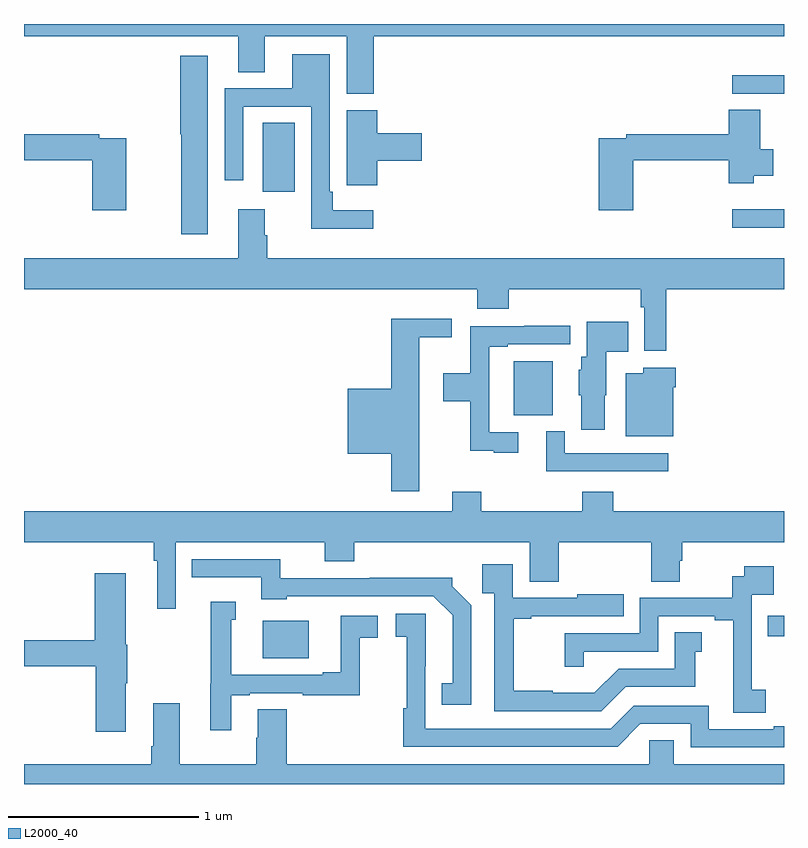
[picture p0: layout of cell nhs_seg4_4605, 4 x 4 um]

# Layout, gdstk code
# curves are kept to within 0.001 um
import gdstk
lib = gdstk.Library(unit=1e-6, precision=1e-09)
def R(c, l, rs):  # rectangles x0, y0, x1, y1
    for r in rs: c.add(gdstk.rectangle(r[:2], r[2:], *l))
def P(c, l, *ps):  # polygons
    for p in ps: c.add(gdstk.Polygon(p, *l))
L2000_40 = (2000, 40)

nhs_seg4_4605 = lib.new_cell('nhs_seg4_4605')
R(nhs_seg4_4605, L2000_40, [(360.257,777.563,360.499,777.76), (362.914,777.678,363,777.786), (361.577,778.841,361.783,779.125), (362.727,779.828,363,779.926), (360.257,780.018,360.424,780.38), (362.727,780.534,363,780.63)])
P(nhs_seg4_4605, L2000_40, [(360.842,780.836),(363,780.836),(363,780.9),(359,780.9),(359,780.836),(360.128,780.836),(360.128,780.646),(360.268,780.646),(360.268,780.836),(360.698,780.836),(360.698,780.532),(360.842,780.532)],
  [(360.838,779.92),(360.625,779.92),(360.625,780.016),(360.609,780.016),(360.609,780.742),(360.413,780.742),(360.413,780.561),(360.057,780.561),(360.057,780.078),(360.153,780.078),(360.153,780.465),(360.513,780.465),(360.513,779.822),(360.838,779.822)],
  [(359.968,780.733),(359.822,780.733),(359.822,780.32),(359.827,780.32),(359.827,779.793),(359.968,779.793)],
  [(362.207,780.184),(362.708,780.184),(362.708,780.062),(362.842,780.062),(362.842,780.101),(362.944,780.101),(362.944,780.241),(362.875,780.241),(362.875,780.449),(362.708,780.449),(362.708,780.32),(362.17,780.32),(362.17,780.3),(362.024,780.3),(362.024,779.919),(362.207,779.919)],
  [(360.86,780.179),(361.093,780.179),(361.093,780.326),(360.86,780.326),(360.86,780.447),(360.698,780.447),(360.698,780.163),(360.699,780.163),(360.699,780.051),(360.86,780.051)],
  [(359.538,780.3),(359.396,780.3),(359.396,780.32),(359,780.32),(359,780.184),(359.36,780.184),(359.36,779.919),(359.538,779.919)],
  [(362.381,779.504),(363,779.504),(363,779.668),(360.281,779.668),(360.281,779.789),(360.268,779.789),(360.268,779.926),(360.128,779.926),(360.128,779.668),(359,779.668),(359,779.504),(361.385,779.504),(361.385,779.402),(361.55,779.402),(361.55,779.504),(362.245,779.504),(362.245,779.408),(362.265,779.408),(362.265,779.181),(362.381,779.181)],
  [(361.081,779.252),(361.252,779.252),(361.252,779.35),(360.932,779.35),(360.932,778.981),(360.704,778.981),(360.704,778.637),(360.932,778.637),(360.932,778.44),(361.081,778.44)],
  [(362.056,778.947),(362.065,778.947),(362.065,779.174),(362.18,779.174),(362.18,779.332),(361.961,779.332),(361.961,779.148),(361.934,779.148),(361.934,779.079),(361.919,779.079),(361.919,778.947),(361.934,778.947),(361.934,778.764),(362.056,778.764)],
  [(361.6,778.752),(361.449,778.752),(361.449,779.202),(361.546,779.202),(361.546,779.214),(361.876,779.214),(361.876,779.312),(361.633,779.312),(361.633,779.31),(361.348,779.31),(361.348,779.062),(361.206,779.062),(361.206,778.915),(361.348,778.915),(361.348,778.655),(361.472,778.655),(361.472,778.644),(361.6,778.644)],
  [(362.416,778.988),(362.429,778.988),(362.429,779.092),(362.258,779.092),(362.258,779.062),(362.168,779.062),(362.168,778.73),(362.416,778.73)],
  [(362.392,778.641),(361.845,778.641),(361.845,778.756),(361.748,778.756),(361.748,778.545),(362.392,778.545)],
  [(361.661,777.964),(361.814,777.964),(361.814,778.172),(362.3,778.172),(362.3,777.964),(362.452,777.964),(362.452,778.074),(362.465,778.074),(362.465,778.172),(363,778.172),(363,778.336),(362.102,778.336),(362.102,778.438),(361.937,778.438),(361.937,778.336),(361.406,778.336),(361.406,778.438),(361.253,778.438),(361.253,778.336),(359,778.336),(359,778.172),(359.683,778.172),(359.683,778.076),(359.702,778.076),(359.702,777.822),(359.799,777.822),(359.799,778.172),(360.584,778.172),(360.584,778.073),(360.737,778.073),(360.737,778.172),(361.661,778.172)],
  [(361.353,777.842),(361.254,777.941),(361.254,777.986),(360.82,777.986),(360.82,777.984),(360.348,777.984),(360.348,778.083),(359.884,778.083),(359.884,777.987),(360.248,777.987),(360.248,777.872),(360.384,777.872),(360.384,777.888),(361.155,777.888),(361.256,777.787),(361.256,777.431),(361.198,777.431),(361.198,777.318),(361.353,777.318)],
  [(362.166,777.411),(362.533,777.411),(362.533,777.595),(362.566,777.595),(362.566,777.698),(362.426,777.698),(362.426,777.507),(362.13,777.507),(362.002,777.379),(361.784,777.379),(361.784,777.391),(361.577,777.391),(361.577,777.771),(361.669,777.771),(361.669,777.783),(362.156,777.783),(362.156,777.898),(361.913,777.898),(361.913,777.879),(361.572,777.879),(361.572,778.057),(361.411,778.057),(361.411,777.905),(361.476,777.905),(361.476,777.282),(362.037,777.282)],
  [(362.905,777.396),(362.831,777.396),(362.831,777.593),(362.829,777.593),(362.829,777.897),(362.947,777.897),(362.947,778.045),(362.791,778.045),(362.791,777.993),(362.728,777.993),(362.728,777.879),(362.241,777.879),(362.241,777.693),(361.846,777.693),(361.846,777.516),(361.947,777.516),(361.947,777.597),(362.337,777.597),(362.337,777.783),(362.636,777.783),(362.636,777.763),(362.732,777.763),(362.732,777.385),(362.734,777.385),(362.734,777.274),(362.905,777.274)],
  [(359.536,777.431),(359.544,777.431),(359.544,777.633),(359.536,777.633),(359.536,778.009),(359.372,778.009),(359.372,777.656),(359,777.656),(359,777.52),(359.378,777.52),(359.378,777.174),(359.536,777.174)],
  [(360.091,777.366),(360.187,777.366),(360.187,777.378),(360.466,777.378),(360.466,777.366),(360.768,777.366),(360.768,777.67),(360.862,777.67),(360.862,777.786),(360.668,777.786),(360.668,777.487),(360.572,777.487),(360.572,777.474),(360.091,777.474),(360.091,777.765),(360.115,777.765),(360.115,777.859),(359.982,777.859),(359.982,777.427),(359.981,777.427),(359.981,777.183),(360.091,777.183)],
  [(363,777.204),(362.945,777.204),(362.945,777.189),(362.604,777.189),(362.604,777.312),(362.208,777.312),(362.088,777.192),(361.113,777.192),(361.114,777.796),(360.957,777.796),(360.957,777.675),(361.015,777.675),(361.015,777.299),(360.997,777.299),(360.997,777.096),(362.124,777.096),(362.244,777.216),(362.508,777.216),(362.508,777.093),(363,777.093)],
  [(363,777.004),(362.419,777.004),(362.419,777.131),(362.292,777.131),(362.292,777.004),(360.383,777.004),(360.383,777.293),(360.23,777.293),(360.23,777.143),(360.223,777.143),(360.223,777.004),(359.821,777.004),(359.821,777.325),(359.681,777.325),(359.681,777.1),(359.669,777.1),(359.669,777.004),(359,777.004),(359,776.9),(363,776.9)])

lib.write_gds('nhs_seg4_4605.gds')
